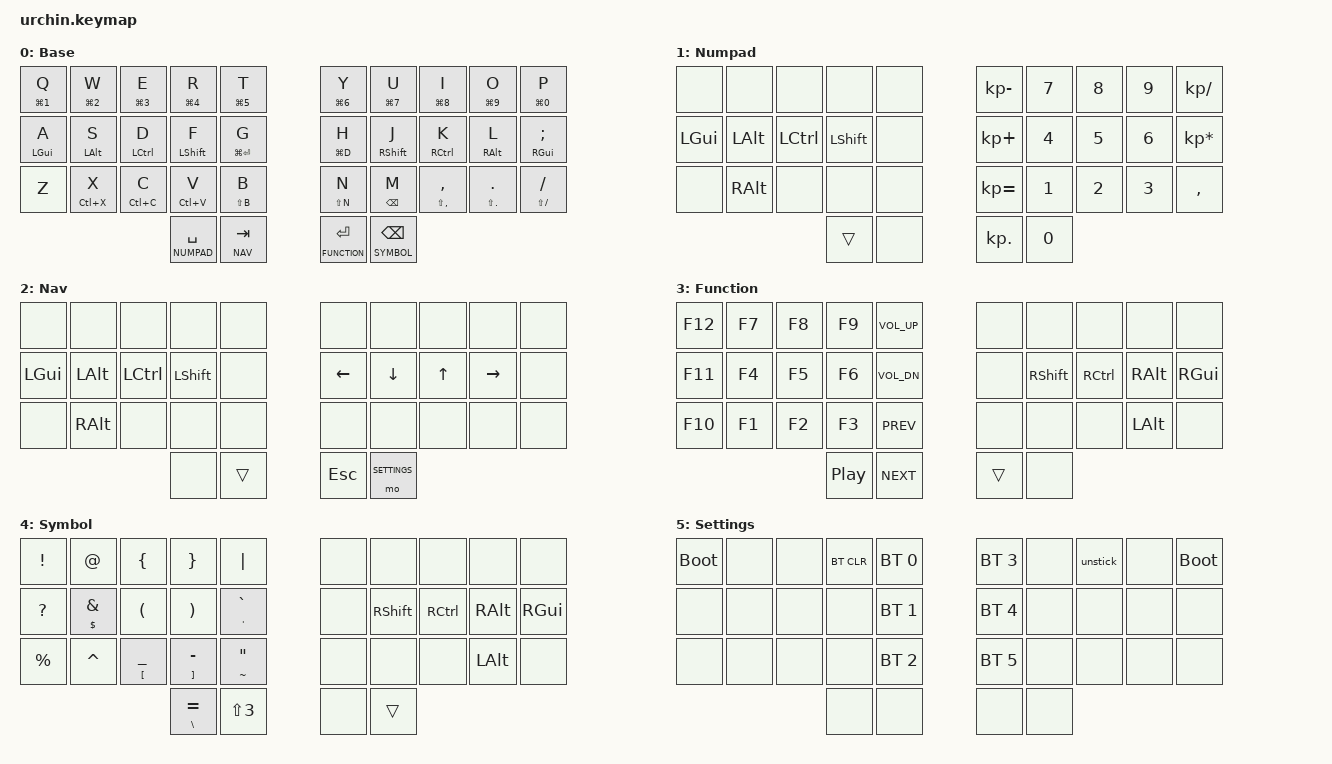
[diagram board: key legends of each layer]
#include <behaviors.dtsi>
#include <dt-bindings/zmk/keys.h>
#include <dt-bindings/zmk/bt.h>
#include <dt-bindings/zmk/outputs.h>

#define BASE 0
#define NUMPAD 1
#define NAV 2
#define FUNCTION 3
#define SYMBOL 4
#define SETTINGS 5

/ {
    behaviors {
        mt_l: alt_gui {
            compatible = "zmk,behavior-hold-tap";
            label = "HOMEROW_MODS_ALT_GUI";
            #binding-cells = <2>;
            tapping-term-ms = <300>;
            quick_tap_ms = <0>;
            flavor = "tap-preferred";
            bindings = <&kp>, <&kp>;
        };
    };

    macros {
        // Sometimes the device thinks a modifier is stuck.
        // Pressing all modifiers clears the state.
        unstick: unstick {
            label = "ZM_unstick";
            compatible = "zmk,behavior-macro";
            #binding-cells = <0>;
            bindings = <&kp LSHIFT &kp RSHIFT &kp LCTRL &kp RCTRL &kp LALT &kp RALT &kp LGUI &kp RGUI>;
        };
    };

    keymap {
        compatible = "zmk,keymap";

        default_layer {
            label = "Base";
            bindings = <
                &mt_l LG(N1) Q      &mt_l LG(N2) W      &mt_l LG(N3) E      &mt_l LG(N4) R      &mt_l LG(N5) T      &mt_l LG(N6) Y      &mt_l LG(N7) U      &mt_l LG(N8) I      &mt_l LG(N9) O       &mt_l LG(N0) P
                &mt_l LGUI A        &mt_l LALT S        &mt_l LCTRL D       &mt_l LSHIFT F      &mt_l LG(ENTER) G   &mt_l LG(D) H       &mt_l RSHIFT J      &mt_l RCTRL K       &mt_l RALT L         &mt_l RGUI SEMICOLON
                &kp Z               &mt_l LC(X) X       &mt_l LC(C) C       &mt_l LC(V) V       &mt_l LS(B) B       &mt_l LS(N) N       &mt_l BACKSPACE M   &mt_l LS(COMMA) COMMA &mt_l LS(DOT) DOT  &mt_l LS(SLASH) SLASH
                                                        &lt NUMPAD SPACE     &lt NAV TAB          &lt FUNCTION ENTER    &lt SYMBOL BACKSPACE
            >;
        };

        numpad_layer {
            label = "Numpad";
            bindings = <
                &none      &none    &none     &none      &none    &kp KP_MINUS  &kp N7  &kp N8  &kp N9  &kp KP_DIVIDE
                &kp LGUI   &kp LALT &kp LCTRL &kp LSHIFT &none    &kp KP_PLUS   &kp N4  &kp N5  &kp N6  &kp KP_ASTERISK
                &none      &kp RALT &none     &none      &none    &kp KP_EQUAL  &kp N1  &kp N2  &kp N3  &kp COMMA
                                        &trans &none      &kp KP_DOT                     &kp N0
            >;
        };

        nav_layer {
            label = "Nav";
            bindings = <
                &none    &none    &none    &none    &none    &none     &none     &none   &none      &none
                &kp LGUI &kp LALT &kp LCTRL &kp LSHIFT &none  &kp LEFT  &kp DOWN  &kp UP  &kp RIGHT  &none
                &none    &kp RALT &none    &none    &none    &none     &none     &none   &none      &none
                                               &none    &trans    &kp ESC                     &mo SETTINGS
            >;
        };

        function_layer {
            label = "Function";
            bindings = <
                &kp F12  &kp F7  &kp F8  &kp F9  &kp C_VOL_UP  &none  &none      &none      &none    &none
                &kp F11  &kp F4  &kp F5  &kp F6  &kp C_VOL_DN  &none  &kp RSHIFT &kp RCTRL  &kp RALT &kp RGUI
                &kp F10  &kp F1  &kp F2  &kp F3  &kp C_PREV    &none  &none      &none      &kp LALT &none
                                    &kp C_PP &kp C_NEXT         &trans                        &none
            >;
        };

        symbol_layer {
            label = "Symbol";
            bindings = <
                &kp EXCLAMATION       &kp AT_SIGN             &kp LBRC                      &kp RBRC                    &kp PIPE                      &none  &none      &none      &none    &none
                &kp QUESTION          &mt_l DOLLAR AMPERSAND &kp LEFT_PARENTHESIS          &kp RIGHT_PARENTHESIS       &mt_l SINGLE_QUOTE GRAVE      &none  &kp RSHIFT &kp RCTRL  &kp RALT &kp RGUI
                &kp PERCENT           &kp CARET               &mt_l LEFT_BRACKET UNDERSCORE &mt_l RIGHT_BRACKET MINUS   &mt_l TILDE DOUBLE_QUOTES     &none  &none      &none      &kp LALT &none
                &mt_l BACKSLASH EQUAL &kp LS(N3)              &none                         &trans
            >;
        };

        settings_layer {
            label = "Settings";
            bindings = <
                &bootloader &none &none &bt BT_CLR &bt BT_SEL 0  &bt BT_SEL 3  &none &unstick &none &bootloader
                &none       &none &none &none      &bt BT_SEL 1  &bt BT_SEL 4  &none &none    &none &none
                &none       &none &none &none      &bt BT_SEL 2  &bt BT_SEL 5  &none &none    &none &none
                                        &none &none            &none           &none
            >;
        };
    };
};
